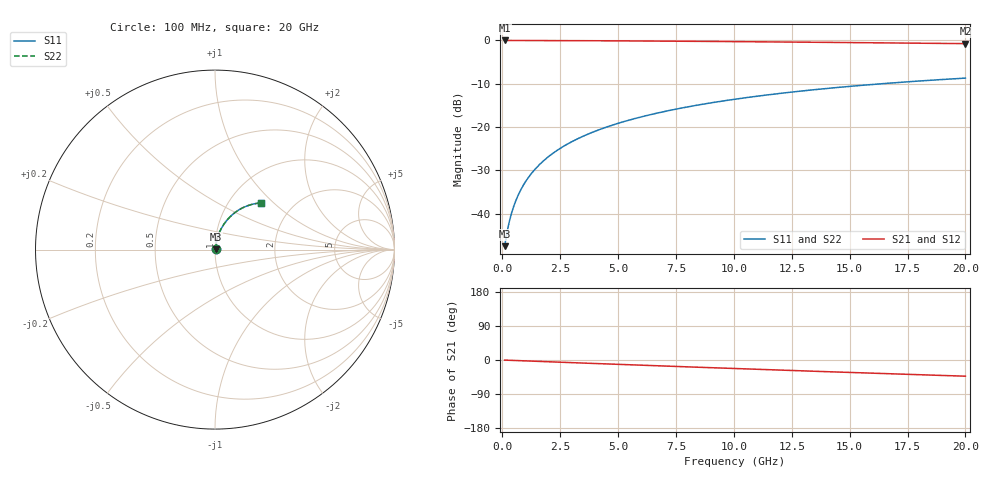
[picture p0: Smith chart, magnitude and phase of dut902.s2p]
! Touchstone file exported from HFSS 2026.1.0
!  File:  C:/ffzhzh/LocalFiles/Ansys_Project_Files/temp_train_TMRDL_902_1783157824_51560.aedt
!  Generated:  05:38:18 PM Jul  4, 2026
!  Design:  TMRDL
!  Project:  temp_train_TMRDL_902_1783157824_51560
! Variables:
!  h_bsmrdl = 2um
!  h_ox = 20um
!  h_rdl = 5um
!  h_sub = 80um
!  h_tmrdl = 5.04um
!  h_tsv = 80um
!  h_via = 3um
!  l_bsmrdl = 300um
!  l_sub = 1063.16um
!  l_tmrdl = 663.16um
!  m_sub = 200um
!  pitch = 33.48um
!  r_tsv = 6um
!  s_tmrdl = 10um
!  w_bsmrdl = 18um
!  w_sub = 500um
!  w_tmrdl = 13.81um
!  x_tsv_center1 = 670.065um
!  x_tsv_center2 = 988.065um
!  x_tsv_center3 = 1665.035um
!  x_tsv_center4 = 1983.035um
!  x_tsv_center5 = 2660.005um
!  x_tsv_center6 = 2978.005um
# GHz S MA R 50.000000
! Terminal data exported
! Port[1] = TM_RDL1_1_T1
! Port[2] = TM_RDL1_1_T2
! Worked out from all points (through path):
!   200 points, 100 MHz to 20 GHz, reference 50 ohm
!   highest |S21| = -0.03 dB at 100 MHz (marker M1); lowest = -0.8 dB at 20 GHz (marker M2)
!   group delay of S21, straight-line fit = 5.93 ps
!   lowest |S11| = -47.4 dB at 100 MHz (marker M3), VSWR 1.01, Z = 50.3 + j0.247 ohm
!   |S11| at or under -10 dB: start of sweep to 16.39 GHz
!   |S22| runs from -47.4 to -8.7 dB; largest |S21 - S12| = 3.5e-15
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0.1  0.004243 35.3  0.9965 -0.2  0.9965 -0.2  0.004243 35.3
! Gamma 0 0 0 0
! Port Impedance 50 0 50 0
0.2  0.006037 53.2  0.9964 -0.5  0.9964 -0.5  0.006037 53.2
0.3  0.008086 62.0  0.9963 -0.7  0.9963 -0.7  0.008086 62.0
0.4  0.01021 67.1  0.9961 -1.0  0.9961 -1.0  0.01021 67.1
0.5  0.01237 70.4  0.996 -1.2  0.996 -1.2  0.01237 70.4
0.6  0.01455 72.8  0.9959 -1.4  0.9959 -1.4  0.01455 72.8
0.8  0.01896 75.7  0.9957 -1.9  0.9957 -1.9  0.01896 75.7
1.1  0.02565 77.9  0.9954 -2.6  0.9954 -2.6  0.02565 77.9
1.3  0.03012 78.6  0.9952 -3.0  0.9952 -3.0  0.03012 78.6
1.6  0.03684 79.1  0.9948 -3.7  0.9948 -3.7  0.03684 79.2
2.1  0.048 79.2  0.9939 -4.9  0.9939 -4.9  0.048 79.2
2.7  0.06126 78.6  0.9927 -6.3  0.9927 -6.3  0.06126 78.6
3.5  0.07869 77.4  0.9907 -8.1  0.9907 -8.1  0.07869 77.4
4.2  0.09368 76.1  0.9888 -9.7  0.9888 -9.7  0.09368 76.1
5  0.1105 74.6  0.9863 -11.5  0.9863 -11.5  0.1105 74.6
5.9  0.1291 72.8  0.9833 -13.5  0.9833 -13.5  0.1291 72.8
6.8  0.1472 70.9  0.98 -15.5  0.98 -15.5  0.1472 71.0
8.3  0.1766 67.9  0.9741 -18.8  0.9741 -18.8  0.1766 67.9
10.1  0.2106 64.3  0.9664 -22.6  0.9664 -22.6  0.2106 64.3
13.4  0.2686 57.7  0.9506 -29.6  0.9506 -29.6  0.2686 57.8
16.7  0.3208 51.3  0.9336 -36.3  0.9336 -36.3  0.3208 51.4
20  0.3669 45.1  0.9161 -42.7  0.9161 -42.7  0.3669 45.1
